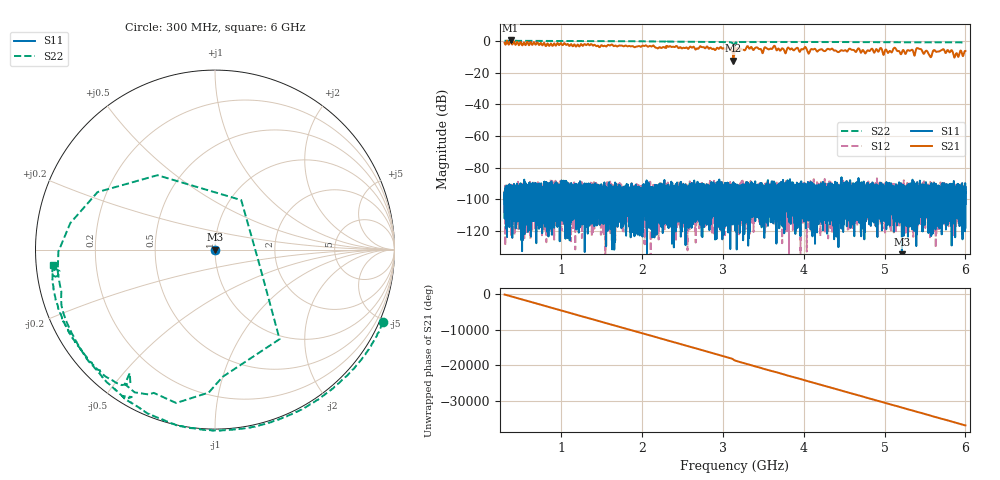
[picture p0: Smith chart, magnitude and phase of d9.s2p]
!Agilent Technologies,N5230C,SG49000117,A.08.50.07
!Agilent N5230C: A.08.50.07
!Date: Sunday, March 17, 2024 05:50:36
!Correction: S11(Off)
!S21(Off)
!S12(Off)
!S22(Full 1 Port(2))
!S2P File: Measurements: S11, S21, S12, S22:
# Hz S  RI  R 50
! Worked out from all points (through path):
!   20001 points, 300 MHz to 6 GHz, reference 50 ohm
!   highest |S21| = 0.40 dB at 373 MHz (marker M1); lowest = -12.3 dB at 3.13 GHz (marker M2)
!   lowest |S11| = -134.9 dB at 5.214 GHz (marker M3), VSWR 1.00, Z = 50 + j1.5e-05 ohm
!   |S11| at or under -10 dB: start of sweep to end of sweep
!   |S22| runs from -13.7 to 0.2 dB; largest |S21 - S12| = 1
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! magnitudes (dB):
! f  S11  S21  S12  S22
! 300 MHz  -95.7  -1.1  -99.1  0.2
! 373 MHz  -108.0  0.4  -101.9  0.2
! 1.25 GHz  -101.3  -2.0  -105.8  0.1
! 2.2 GHz  -97.9  -4.5  -97.3  -0.2
! 3.07 GHz  -94.9  -4.2  -97.3  -0.7
! 3.13 GHz  -89.1  -12.3  -95.9  -5.4
! 3.15 GHz  -104.3  -4.5  -96.8  -1.6
! 3.208 GHz  -104.7  -5.0  -99.0  -0.6
! 4.008 GHz  -94.7  -4.1  -105.0  -0.6
! 4.064 GHz  -102.8  -7.8  -91.8  -0.6
! 4.1 GHz  -101.9  -5.0  -102.1  -0.6
! 5.05 GHz  -91.9  -7.1  -96.6  -0.7
! 5.127 GHz  -100.3  -4.2  -93.1  -0.7
! 5.214 GHz  -134.9  -7.2  -120.8  -0.7
! 5.365 GHz  -98.5  -8.7  -97.7  -0.7
! 5.423 GHz  -109.1  -4.9  -96.3  -0.7
! 5.565 GHz  -97.8  -9.9  -112.2  -0.8
! 5.617 GHz  -95.4  -5.7  -93.8  -0.9
! 5.715 GHz  -100.5  -5.4  -100.4  -0.8
! 5.816 GHz  -101.2  -6.4  -99.0  -0.8
! 5.887 GHz  -100.0  -7.7  -100.7  -0.8
! 6 GHz  -102.9  -6.2  -96.7  -0.8
